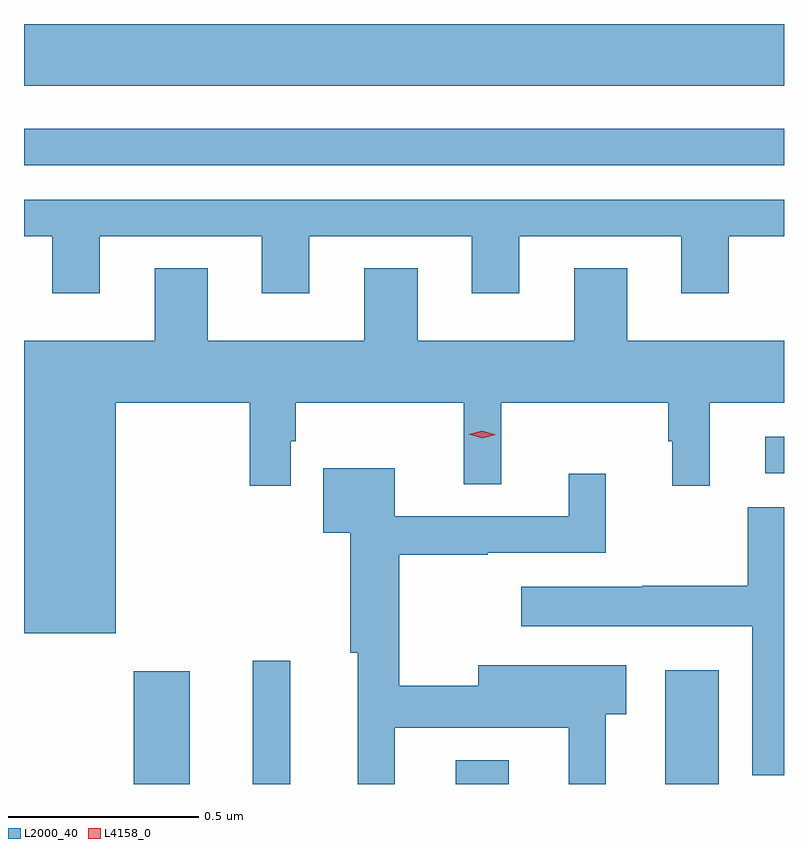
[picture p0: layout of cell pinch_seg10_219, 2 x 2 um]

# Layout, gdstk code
import gdstk
lib = gdstk.Library(unit=1e-6, precision=1e-09)
def R(c, l, rs):  # rectangles x0, y0, x1, y1
    for r in rs: c.add(gdstk.rectangle(r[:2], r[2:], *l))
def P(c, l, *ps):  # polygons
    for p in ps: c.add(gdstk.Polygon(p, *l))
L2000_40 = (2000, 40)
L4158_0 = (4158, 0)

pinch_seg10_219 = lib.new_cell('pinch_seg10_219')
R(pinch_seg10_219, L2000_40, [(845.512,1287.325,845.659,1287.622), (845.825,1287.325,845.924,1287.649), (846.359,1287.325,846.499,1287.388), (846.911,1287.325,847.051,1287.625), (847.173,1288.143,847.223,1288.239), (845.223,1288.953,847.223,1289.049), (845.223,1289.162,847.223,1289.325)])
P(pinch_seg10_219, L2000_40, [(845.422,1288.767),(845.849,1288.767),(845.849,1288.617),(845.974,1288.617),(845.974,1288.767),(846.401,1288.767),(846.401,1288.617),(846.526,1288.617),(846.526,1288.767),(846.953,1288.767),(846.953,1288.617),(847.078,1288.617),(847.078,1288.767),(847.223,1288.767),(847.223,1288.863),(845.223,1288.863),(845.223,1288.767),(845.297,1288.767),(845.297,1288.617),(845.422,1288.617)],
  [(845.464,1288.328),(845.817,1288.328),(845.817,1288.11),(845.925,1288.11),(845.925,1288.227),(845.938,1288.227),(845.938,1288.328),(846.38,1288.328),(846.38,1288.114),(846.479,1288.114),(846.479,1288.328),(846.918,1288.328),(846.918,1288.227),(846.929,1288.227),(846.929,1288.11),(847.027,1288.11),(847.027,1288.328),(847.223,1288.328),(847.223,1288.492),(846.811,1288.492),(846.811,1288.682),(846.671,1288.682),(846.671,1288.492),(846.259,1288.492),(846.259,1288.682),(846.119,1288.682),(846.119,1288.492),(845.707,1288.492),(845.707,1288.682),(845.567,1288.682),(845.567,1288.492),(845.223,1288.492),(845.223,1287.722),(845.464,1287.722)],
  [(846.199,1287.473),(846.656,1287.473),(846.656,1287.325),(846.754,1287.325),(846.754,1287.508),(846.808,1287.508),(846.808,1287.637),(846.419,1287.637),(846.419,1287.584),(846.211,1287.584),(846.211,1287.928),(846.443,1287.928),(846.443,1287.933),(846.754,1287.933),(846.754,1288.141),(846.656,1288.141),(846.656,1288.029),(846.198,1288.029),(846.198,1288.156),(846.01,1288.156),(846.01,1287.986),(846.082,1287.986),(846.082,1287.67),(846.101,1287.67),(846.101,1287.325),(846.199,1287.325)],
  [(847.223,1288.053),(847.128,1288.053),(847.128,1287.847),(846.85,1287.847),(846.85,1287.844),(846.531,1287.844),(846.531,1287.74),(847.14,1287.74),(847.14,1287.348),(847.223,1287.348)])
P(pinch_seg10_219, L4158_0, [(846.429,1288.235),(846.393,1288.245),(846.393,1288.245),(846.393,1288.245),(846.429,1288.255),(846.465,1288.244),(846.465,1288.244),(846.465,1288.244)])

lib.write_gds('pinch_seg10_219.gds')
